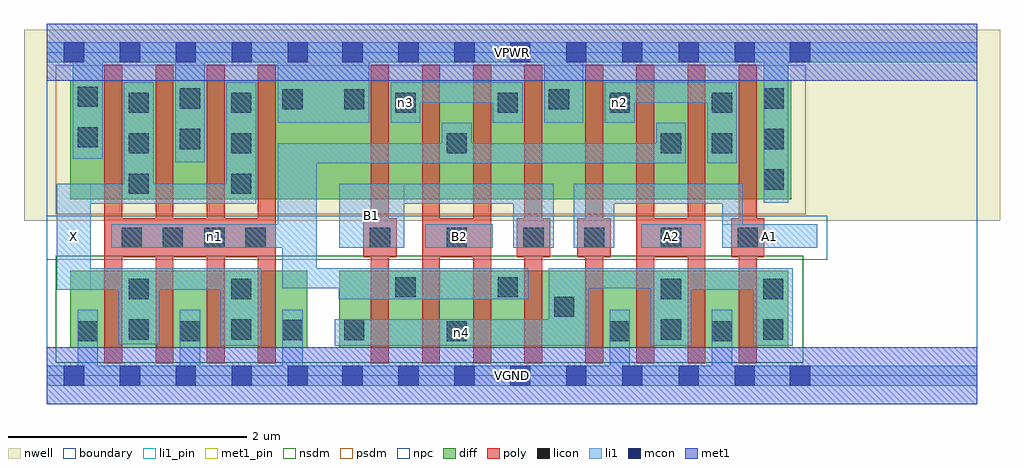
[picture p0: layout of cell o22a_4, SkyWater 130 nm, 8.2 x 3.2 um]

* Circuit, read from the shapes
.subckt o22a_4 A1 A2 B1 B2 VGND VPWR X n1 n2 n3 n4
XM1 X n1 VGND VSUBS sky130_fd_pr__nfet_01v8 w=0.65 l=0.15 m=4
XM2 n1 B1 n4 VSUBS sky130_fd_pr__nfet_01v8 w=0.65 l=0.15 m=2
XM3 n4 B2 n1 VSUBS sky130_fd_pr__nfet_01v8 w=0.65 l=0.15 m=2
XM4 VGND A1 n4 VSUBS sky130_fd_pr__nfet_01v8 w=0.65 l=0.15 m=2
XM5 n4 A2 VGND VSUBS sky130_fd_pr__nfet_01v8 w=0.65 l=0.15 m=2
XM6 X n1 VPWR n5 sky130_fd_pr__pfet_01v8 w=1 l=0.15 m=4
XM7 n3 B1 VPWR n5 sky130_fd_pr__pfet_01v8 w=1 l=0.15 m=2
XM8 n1 B2 n3 n5 sky130_fd_pr__pfet_01v8 w=1 l=0.15 m=2
XM9 n2 A1 VPWR n5 sky130_fd_pr__pfet_01v8 w=1 l=0.15 m=2
XM10 n1 A2 n2 n5 sky130_fd_pr__pfet_01v8 w=1 l=0.15 m=2
.ends

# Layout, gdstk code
import gdstk
lib = gdstk.Library(unit=1e-6, precision=1e-09)
def R(c, l, rs):  # rectangles x0, y0, x1, y1
    for r in rs: c.add(gdstk.rectangle(r[:2], r[2:], *l))
def A(c, l, x, y, w, h, nx, ny, dx, dy):  # array of equal rectangles
    R(c, l, [(x+i*dx, y+j*dy, x+i*dx+w, y+j*dy+h) for i in range(nx) for j in range(ny)])
nwell = (64, 20)
diff = (65, 20)
poly = (66, 20)
licon = (66, 44)
li1_pin = (67, 16)
li1 = (67, 20)
mcon = (67, 44)
met1_pin = (68, 16)
met1 = (68, 20)
nsdm = (93, 44)
psdm = (94, 20)
npc = (95, 20)
boundary = (235, 4)

o22a_4 = lib.new_cell('o22a_4')
R(o22a_4, nwell, [(-0.19,1.305,8.01,2.91), (0,1.305,7.82,2.91)])
R(o22a_4, diff, [(0.2,0.235,2.19,0.885), (2.46,0.235,6.23,0.885), (0.2,1.485,6.255,2.485)])
A(o22a_4, poly, 0.485, 0.105, 0.15, 2.51, 4, 1, 0.43, 0)
A(o22a_4, poly, 2.725, 0.105, 0.15, 2.51, 4, 1, 0.43, 0)
A(o22a_4, poly, 4.525, 0.105, 0.15, 2.51, 4, 1, 0.43, 0)
R(o22a_4, poly, [(0.485,0.995,1.925,1.325), (2.66,0.995,2.94,1.325), (3.155,0.995,3.735,1.325), (3.95,0.995,4.23,1.325), (4.46,0.995,4.74,1.325), (4.955,0.995,5.535,1.325), (5.75,0.995,6.03,1.325)])
A(o22a_4, licon, 2.715, 1.075, 0.17, 0.17, 3, 1, 0.645, 0)
A(o22a_4, licon, 4.515, 1.075, 0.17, 0.17, 3, 1, 0.645, 0)
A(o22a_4, licon, 0.69, 1.53, 0.17, 0.17, 1, 3, 0, 0.34)
A(o22a_4, licon, 1.55, 1.53, 0.17, 0.17, 1, 3, 0, 0.34)
A(o22a_4, licon, 6.025, 1.565, 0.17, 0.17, 1, 3, 0, 0.34)
R(o22a_4, licon, [(0.26,0.29,0.43,0.46), (1.12,0.29,1.29,0.46), (3.36,0.29,3.53,0.46), (4.73,0.29,4.9,0.46), (5.59,0.29,5.76,0.46), (1.98,0.3,2.15,0.47), (2.5,0.3,2.67,0.47), (0.69,0.305,0.86,0.475), (1.55,0.305,1.72,0.475), (5.16,0.305,5.33,0.475), (6.02,0.305,6.19,0.475), (4.265,0.495,4.435,0.665), (0.69,0.645,0.86,0.815), (1.55,0.645,1.72,0.815), (5.16,0.645,5.33,0.815), (6.02,0.645,6.19,0.815), (2.93,0.66,3.1,0.83), (3.79,0.66,3.96,0.83), (0.63,1.075,0.8,1.245), (0.975,1.075,1.145,1.245), (1.325,1.075,1.495,1.245), (1.67,1.075,1.84,1.245), (3.36,1.87,3.53,2.04), (5.16,1.87,5.33,2.04), (5.59,1.87,5.76,2.04), (1.12,1.905,1.29,2.075), (0.26,1.92,0.43,2.09), (2.93,2.21,3.1,2.38), (3.79,2.21,3.96,2.38), (4.73,2.21,4.9,2.38), (5.59,2.21,5.76,2.38), (1.98,2.24,2.15,2.41), (2.5,2.24,2.67,2.41), (4.22,2.24,4.39,2.41), (1.12,2.245,1.29,2.415), (0.26,2.26,0.43,2.43)])
R(o22a_4, li1_pin, [(0.085,0.725,0.37,1.615), (2.46,1.075,3.005,1.615), (3.18,1.075,3.75,1.275), (4.995,1.075,5.5,1.275), (5.675,1.075,6.475,1.275)])
A(o22a_4, li1, 0.26, -0.085, 0.17, 0.64, 3, 1, 0.86, 0)
R(o22a_4, li1, [(0,-0.085,7.82,0.085), (4.73,-0.085,4.9,0.555), (5.59,-0.085,5.76,0.555), (1.465,0.255,1.805,0.905), (2.42,0.255,4.555,0.475), (4.22,0.255,4.555,0.905), (5.075,0.255,5.415,0.905), (5.935,0.255,6.27,0.905), (0.605,0.265,0.945,0.905), (2.455,0.645,4.045,0.905), (0.085,0.725,1.805,0.905), (0.085,0.725,0.37,1.615), (5.075,0.725,6.27,0.905), (1.98,0.735,2.27,1.955), (1.98,0.735,4.045,0.905), (4.22,0.735,6.27,0.905), (0.545,1.075,2.27,1.275), (1.94,1.075,2.27,1.955), (2.46,1.075,3.005,1.615), (3.18,1.075,3.75,1.275), (3.92,1.075,4.26,1.615), (4.43,1.075,4.77,1.615), (4.995,1.075,5.5,1.275), (5.675,1.075,6.475,1.275), (5.675,1.075,5.85,1.615), (0.085,1.445,1.76,1.615), (0.65,1.445,0.9,2.465), (1.51,1.445,1.76,2.465), (2.46,1.445,4.26,1.615), (4.43,1.445,5.85,1.615), (6.025,1.455,6.23,2.805), (1.94,1.785,5.37,1.955), (3.32,1.785,3.57,2.125), (5.12,1.785,5.37,2.125), (5.55,1.785,5.8,2.465), (1.08,1.795,1.33,2.805), (0.22,1.825,0.47,2.805), (1.94,2.125,2.71,2.805), (2.89,2.125,3.14,2.465), (3.75,2.125,4,2.465), (4.18,2.125,4.51,2.805), (4.69,2.125,4.94,2.465), (2.89,2.295,4,2.465), (4.69,2.295,5.8,2.465), (0,2.635,7.82,2.805)])
A(o22a_4, mcon, 0.145, -0.085, 0.17, 0.17, 5, 2, 0.47, 2.72)
A(o22a_4, mcon, 2.485, -0.085, 0.17, 0.17, 6, 2, 0.47, 2.72)
R(o22a_4, mcon, [(5.31,-0.085,5.48,0.085), (5.78,-0.085,5.95,0.085), (6.245,-0.085,6.415,0.085), (5.31,2.635,5.48,2.805), (5.78,2.635,5.95,2.805), (6.245,2.635,6.415,2.805)])
R(o22a_4, met1_pin, [(0,-0.24,7.82,0.24), (0,2.48,7.82,2.96)])
R(o22a_4, met1, [(0,-0.24,7.82,0.24), (0,2.48,7.82,2.96)])
R(o22a_4, nsdm, [(0.075,0.11,6.355,1.01)])
R(o22a_4, psdm, [(0.075,1.36,6.38,2.61)])
R(o22a_4, npc, [(0,0.975,6.56,1.345)])
R(o22a_4, boundary, [(0,0,7.82,2.72)])
o22a_4.add(gdstk.Label('A1', (6.075,1.175), layer=67, texttype=5))
o22a_4.add(gdstk.Label('A2', (5.247,1.175), layer=67, texttype=5))
o22a_4.add(gdstk.Label('B1', (2.732,1.345), layer=67, texttype=5))
o22a_4.add(gdstk.Label('B2', (3.465,1.175), layer=67, texttype=5))
o22a_4.add(gdstk.Label('X', (0.227,1.17), layer=67, texttype=5))
o22a_4.add(gdstk.Label('n4', (3.487,0.365), layer=67, texttype=5))
o22a_4.add(gdstk.Label('n1', (1.407,1.175), layer=67, texttype=5))
o22a_4.add(gdstk.Label('n3', (3.015,2.295), layer=67, texttype=5))
o22a_4.add(gdstk.Label('n2', (4.815,2.295), layer=67, texttype=5))
o22a_4.add(gdstk.Label('VPWR', (3.91,2.72), layer=68, texttype=5))
o22a_4.add(gdstk.Label('VGND', (3.91,0), layer=68, texttype=5))
o22a_4.add(gdstk.Label('A1', (6.075,1.175), layer=67, texttype=16))
o22a_4.add(gdstk.Label('A2', (5.247,1.175), layer=67, texttype=16))
o22a_4.add(gdstk.Label('B1', (2.732,1.345), layer=67, texttype=16))
o22a_4.add(gdstk.Label('B2', (3.465,1.175), layer=67, texttype=16))
o22a_4.add(gdstk.Label('X', (0.227,1.17), layer=67, texttype=16))
o22a_4.add(gdstk.Label('VPWR', (3.91,2.72), layer=68, texttype=16))
o22a_4.add(gdstk.Label('VGND', (3.91,0), layer=68, texttype=16))

lib.write_gds('o22a_4.gds')
